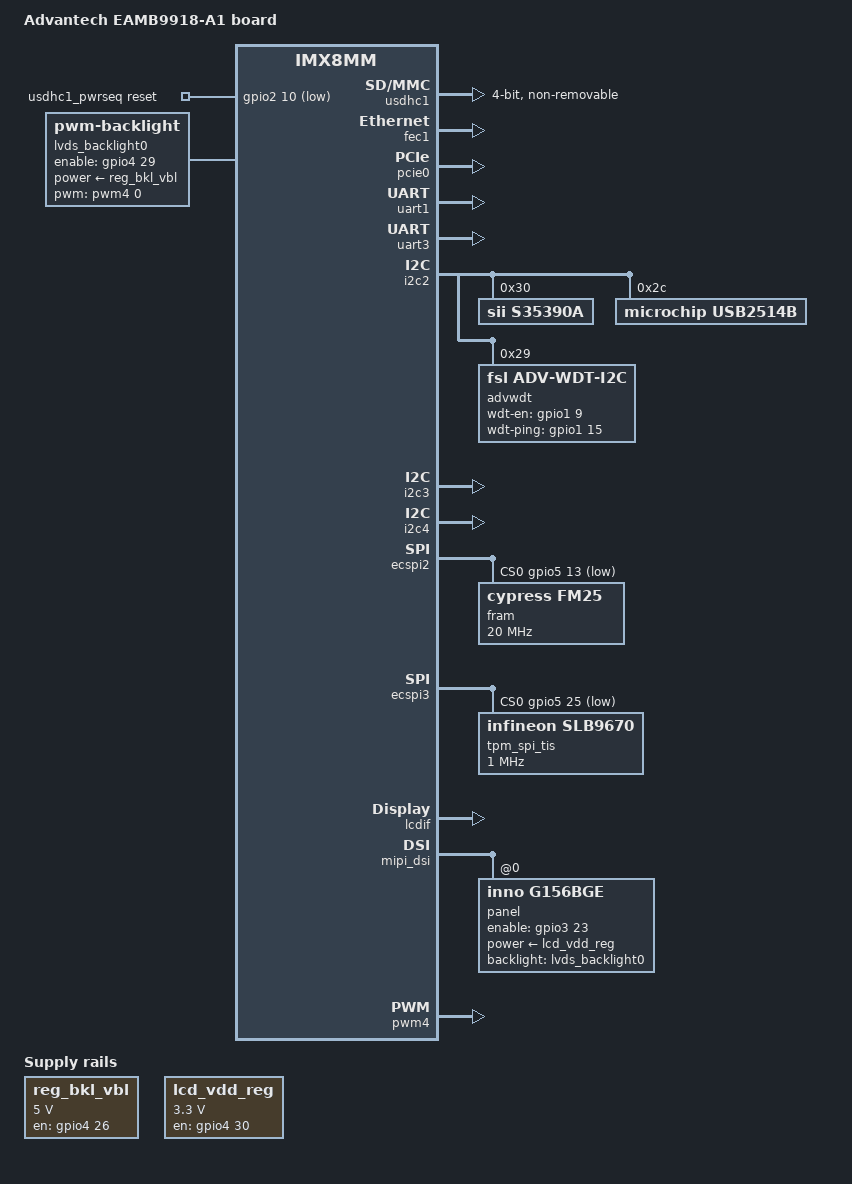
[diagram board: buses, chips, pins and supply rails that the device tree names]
// SPDX-License-Identifier: (GPL-2.0+ OR MIT)
/*
 * Copyright 2019 NXP
 */

/dts-v1/;

#include "imx8mm-advantech.dtsi"

/ {
	model = "Advantech EAMB9918-A1 board";
	compatible = "fsl,imx8mm-eamb9918", "fsl,imx8mm";

	usdhc1_pwrseq: usdhc1_pwrseq {
		compatible = "mmc-pwrseq-simple";
		pinctrl-names = "default";
		pinctrl-0 = <&pinctrl_usdhc1_gpio>;
		reset-gpios = <&gpio2 10 GPIO_ACTIVE_LOW>;
	};

	/************************
	* LVDS backlight power.
	************************/
	reg_bkl_vbl: regulator-bkl {
		compatible = "regulator-fixed";
		pinctrl-names = "default";
		pinctrl-0 = <&pinctrl_reg_bkl_vbl>;
		regulator-name = "VDD_BKL";
		regulator-min-microvolt = <5000000>;
		regulator-max-microvolt = <5000000>;
		gpio = <&gpio4 26 GPIO_ACTIVE_HIGH>;
		startup-delay-us = <300000>;
		enable-active-high;
	};

	/************************
	* LVDS VDD power.
	************************/
	lcd_vdd_reg: regulator_lcd_vdd {
		compatible = "regulator-fixed";
		pinctrl-names = "default";
		pinctrl-0 = <&pinctrl_lcd0>;
		regulator-name = "LCD_VDD";
		regulator-min-microvolt = <3300000>;
		regulator-max-microvolt = <3300000>;
		gpio = <&gpio4 30 GPIO_ACTIVE_HIGH>;
		enable-active-high;
	};

	/*****************
	* LVDS backlight.
	*****************/
	lvds_backlight0: lvds_backlight@0 {
		compatible = "pwm-backlight";
		pinctrl-names = "default";
		pinctrl-0 = <&pinctrl_bkl0>;
		power-supply = <&reg_bkl_vbl>;
		enable-gpios = <&gpio4 29 GPIO_ACTIVE_HIGH>;  /* BKL_EN */
		post-pwm-on-delay-ms = <10>;
		pwm-off-delay-ms = <10>;
		status = "okay";

		pwms = <&pwm4 0 1000000 0>;
		brightness-levels = < 0  1  2  3  4  5  6  7  8  9
			10 11 12 13 14 15 16 17 18 19
			20 21 22 23 24 25 26 27 28 29
			30 31 32 33 34 35 36 37 38 39
			40 41 42 43 44 45 46 47 48 49
			50 51 52 53 54 55 56 57 58 59
			60 61 62 63 64 65 66 67 68 69
			70 71 72 73 74 75 76 77 78 79
			80 81 82 83 84 85 86 87 88 89
			90 91 92 93 94 95 96 97 98 99
			100>;
		default-brightness-level = <80>;
	};

	/***************************
	* gpio export to sysfs.
	***************************/
	gpio_export {
		compatible = "adv,gpio_export";
		pinctrl-names = "default";
		pinctrl-0 = <&pinctrl_gpioexport_0>;
		#address-cells = <1>; 
		#size-cells = <1>;
		adv,export-gpio-use-number;
		gpio_counts = <4>;	//gpio counts
		status = "okay";

		gpio-0 = <84 1>;
		gpio-1 = <85 1>;
		gpio-2 = <86 1>;
		gpio-3 = <0 1>;
	};

	/***************************
	* use s35390a as rtc0. s35390a has battery, so it can keep time after power off
	***************************/
	aliases {
		rtc0 = &s35390a;
		rtc2 = &snvs_rtc;

		watchdog0 = &advwdt;
		watchdog1 = &wdog1;

		/* we need delete property "ethernet0" which already defined in imx8mm.dtsi and set ethernet1 for fec */
		/delete-property/ ethernet0;
		ethernet1 = &fec1;
	};
};

/***********************************************************
* uSDHC:
* usdhc1 as sdio to connect Wifi/Bt.
* usdhc2 connect to sdcard.
* usdhc3 connect to emmc flash.
* usdhc2 & usdhc3 has enabled in imx8mm-advantech.dtsi
***********************************************************/
&usdhc1 {
	pinctrl-names = "default", "state_100mhz", "state_200mhz";
	pinctrl-0 = <&pinctrl_usdhc1>, <&pinctrl_wlan>;
	pinctrl-1 = <&pinctrl_usdhc1_100mhz>, <&pinctrl_wlan>;
	pinctrl-2 = <&pinctrl_usdhc1_200mhz>, <&pinctrl_wlan>;
	bus-width = <4>;
	cap-power-off-card;
	pm-ignore-notify;
	keep-power-in-suspend;
	non-removable;
	mmc-pwrseq = <&usdhc1_pwrseq>;
	status = "okay";
};

/***************************************
* FEC:
* has enabled in imx8mm-advantech.dtsi.
***************************************/
&fec1 {
	status = "okay";
};

/**************************************
* PCIe:
**************************************/
&pcie0{
	status = "okay";
};

/*******************************************
* USB:
* usbotg1 as otg device.
* usbotg2 as host.
* this is enabled in imx8mm-advantech.dtsi
******************************************/


/**************************************
* UART:
* uart1& uart3 as rs485.
* uart2 as console, and has enabled.
* uart4 as rs232
**************************************/
&uart1 {
	pinctrl-names = "default";
	pinctrl-0 = <&pinctrl_uart1>;

	fsl,uart-has-rtscts;
	rs485-rts-delay = <0 200>;
	status = "okay";
};

&uart3 {
	pinctrl-names = "default";
	pinctrl-0 = <&pinctrl_uart3>;

	fsl,uart-has-rtscts;
	linux,rs485-enabled-at-boot-time;		/* cts as de pin */
	rs485-rts-delay = <0 200>;              // in milliseconds
	status = "okay";
};

&uart4 { /* M4 debug */
	pinctrl-names = "default";
	pinctrl-0 = <&pinctrl_uart4>;
	status = "disabled";
};

/*******************************
* I2C Bus
* i2c1 as pmic iic has enabled.
*******************************/
&i2c2 {
	status = "okay";

	/* system RTC. */
	s35390a: s35390a@30 {
		compatible = "sii,s35390a";
		reg = <0x30>;
		status = "okay";
	};

	/*usb hub.*/
	usb2514b@2c {
		compatible = "microchip,usb2514b";
		reg = <0x2c>;
    };

	advwdt: wdt@29 {
		compatible = "fsl,adv-wdt-i2c";
		pinctrl-names = "default";
		pinctrl-0 = <&pinctrl_wdt_en_1 &pinctrl_wdt_ping_1>;
		status = "okay";
		wdt-en = <&gpio1 9 0>;
		wdt-ping = <&gpio1 15 0>;
		reg = <0x29>;
	};


};

&i2c3 {
	status = "okay";

	/* gpio controller without intterupt. */
	ext_gpio: tca9538@73 {
		compatible = "ti,tca6408";
		reg = <0x73>;
		gpio-controller;
		#gpio-cells = <2>;
		status = "disabled";
	};
};

&i2c4 {
	status = "okay";
};

/***********************
* ecspi2
* with one spi fram.
***********************/
&ecspi2 {
	pinctrl-names = "default";
	pinctrl-0 = <&pinctrl_ecspi2>;
	#address-cells = <1>;
	#size-cells = <0>;
	fsl,spi-num-chipselects = <1>;
	cs-gpios = <&gpio5 13 GPIO_ACTIVE_LOW>;
	status = "okay";

	fram: fm25v10@0 {
		compatible = "cypress,fm25";
		reg = <0>;
		spi-max-frequency = <20000000>;
		status = "okay";
	};
};

&ecspi3 {
	pinctrl-names = "default";
	pinctrl-0 = <&pinctrl_ecspi3>;
	/delete-property/ dmas;
	/delete-property/ dma-names;
	#address-cells = <1>;
	#size-cells = <0>;
	fsl,spi-num-chipselects = <1>;
	cs-gpios = <&gpio5 25 GPIO_ACTIVE_LOW>;
	status = "okay";

	tpm_spi_tis@0 {
		compatible = "infineon,slb9670";
		reg = <0>;
		spi-max-frequency = <1000000>;
		status = "okay";
	};
};

/***************
* SAI3 
***************/
&sai3 {
	assigned-clocks = <&clk IMX8MM_CLK_SAI3>;
	assigned-clock-parents = <&clk IMX8MM_AUDIO_PLL1_OUT>;
	assigned-clock-rates = <24576000>;
	status = "disable";
};

/***************************
*
* Display system:
*
***************************/
/* the real display controler.*/
&lcdif {
	status = "okay";
};

/* display data from lcdif.*/
&mipi_dsi {
	status = "okay";

	/*
	* sec-dsi driver support the panel
	* node in the mipi_dis bridge node.
	*/
	panel@0 {
		compatible = "inno,g156bge";
		pinctrl-names = "default";
		pinctrl-0 = <&pinctrl_lvds>;

		reg = <0>;
		power-supply = <&lcd_vdd_reg>;
		enable-gpios = <&gpio3 23 GPIO_ACTIVE_HIGH>;  /* We use STBY as enable TC358775XBG */
		power-on-delay = <10>;
		bkl-prepare-on-delay = <200>;
		backlight=<&lvds_backlight0>;
		panel-init-sequence = [
			29 00 06 3C 01 06 00 05 00
			29 00 06 14 01 04 00 00 00
			29 00 06 64 01 04 00 00 00
			29 00 06 68 01 04 00 00 00
			29 00 06 6C 01 04 00 00 00
			29 00 06 70 01 04 00 00 00
			29 00 06 34 01 1F 00 00 00
			29 00 06 10 02 1F 00 00 00
			29 00 06 04 01 01 00 00 00
			29 00 06 04 02 01 00 00 00
			29 00 06 50 04 20 01 40 01
			29 00 06 54 04 18 00 50 00
			29 00 06 58 04 56 05 5A 00
			29 00 06 5C 04 08 00 0A 00
			29 00 06 60 04 00 03 14 00
			29 00 06 64 04 01 00 00 00
			29 01 06 A0 04 06 80 44 00
			29 00 06 A0 04 06 80 04 00
			29 00 06 04 05 04 00 00 00
			29 00 06 80 04 00 01 02 03
			29 00 06 84 04 04 07 05 08
			29 00 06 88 04 09 0A 0E 0F
			29 00 06 8C 04 0B 0C 0D 10
			29 00 06 90 04 16 17 11 12
			29 00 06 94 04 13 14 15 1B
			29 14 06 98 04 18 19 1A 06
			29 78 06 9C 04 31 00 00 00
		];
	};
};

/* LVDS Backlight pwm. */
&pwm4 {
	status = "okay";
};

/****************
*
* IOMUX.
*
****************/
&iomuxc {
	pinctrl-names = "default";

	pinctrl_hog: hoggrp {
		fsl,pins = <
			MX8MM_IOMUXC_SPDIF_TX_GPIO5_IO3			0x19	/* GPIO11 */
			MX8MM_IOMUXC_SPDIF_EXT_CLK_GPIO5_IO5		0x19	/* GPIO5 */
			MX8MM_IOMUXC_SAI3_RXFS_GPIO4_IO28		0x19	/* RESET_OUT */
		>;
	};

	pinctrl_tpm: tpm_grp {
		fsl,pins = <
			MX8MM_IOMUXC_ECSPI1_MOSI_GPIO5_IO7		0x159	/* TPM_IRQ */
		>;
	};

	pinctrl_mipi_dsi_en: mipi_dsi_en {
		fsl,pins = <
			MX8MM_IOMUXC_GPIO1_IO08_GPIO1_IO8		0x16
		>;
	};

	pinctrl_uart1: uart1grp {
		fsl,pins = <
			MX8MM_IOMUXC_SAI2_RXC_UART1_DCE_RX		0x140
			MX8MM_IOMUXC_SAI2_RXFS_UART1_DCE_TX		0x140
			MX8MM_IOMUXC_SAI2_TXFS_UART1_DCE_CTS_B	0x140
			MX8MM_IOMUXC_SAI2_RXD0_UART1_DCE_RTS_B	0x140
		>;
	};

	pinctrl_uart3: uart3grp {
		fsl,pins = <
			MX8MM_IOMUXC_UART3_RXD_UART3_DCE_RX		0x140
			MX8MM_IOMUXC_UART3_TXD_UART3_DCE_TX		0x140
			MX8MM_IOMUXC_ECSPI1_SS0_UART3_DCE_RTS_B		0x140
			MX8MM_IOMUXC_ECSPI1_MISO_UART3_DCE_CTS_B	0x140
		>;
	};

	pinctrl_uart4: uart4grp {
		fsl,pins = <
			MX8MM_IOMUXC_UART4_RXD_UART4_DCE_RX	0x140
			MX8MM_IOMUXC_UART4_TXD_UART4_DCE_TX	0x140
		>;
	};

	pinctrl_usdhc1_gpio: usdhc1grpgpio {
		fsl,pins = <
			MX8MM_IOMUXC_SD1_RESET_B_GPIO2_IO10	0x41
		>;
	};

	pinctrl_usdhc1: usdhc1grp {
		fsl,pins = <
			MX8MM_IOMUXC_SD1_CLK_USDHC1_CLK		0x190
			MX8MM_IOMUXC_SD1_CMD_USDHC1_CMD		0x1d0
			MX8MM_IOMUXC_SD1_DATA0_USDHC1_DATA0	0x1d0
			MX8MM_IOMUXC_SD1_DATA1_USDHC1_DATA1	0x1d0
			MX8MM_IOMUXC_SD1_DATA2_USDHC1_DATA2	0x1d0
			MX8MM_IOMUXC_SD1_DATA3_USDHC1_DATA3	0x1d0
		>;
	};

	pinctrl_usdhc1_100mhz: usdhc1grp100mhz {
		fsl,pins = <
			MX8MM_IOMUXC_SD1_CLK_USDHC1_CLK		0x194
			MX8MM_IOMUXC_SD1_CMD_USDHC1_CMD		0x1d4
			MX8MM_IOMUXC_SD1_DATA0_USDHC1_DATA0	0x1d4
			MX8MM_IOMUXC_SD1_DATA1_USDHC1_DATA1	0x1d4
			MX8MM_IOMUXC_SD1_DATA2_USDHC1_DATA2	0x1d4
			MX8MM_IOMUXC_SD1_DATA3_USDHC1_DATA3	0x1d4
		>;
	};

	pinctrl_usdhc1_200mhz: usdhc1grp200mhz {
		fsl,pins = <
			MX8MM_IOMUXC_SD1_CLK_USDHC1_CLK		0x196
			MX8MM_IOMUXC_SD1_CMD_USDHC1_CMD		0x1d6
			MX8MM_IOMUXC_SD1_DATA0_USDHC1_DATA0	0x1d6
			MX8MM_IOMUXC_SD1_DATA1_USDHC1_DATA1	0x1d6
			MX8MM_IOMUXC_SD1_DATA2_USDHC1_DATA2	0x1d6
			MX8MM_IOMUXC_SD1_DATA3_USDHC1_DATA3	0x1d6
		>;
	};

	pinctrl_wlan: wlangrp {
		fsl,pins = <
			MX8MM_IOMUXC_GPIO1_IO01_GPIO1_IO1		0x111
			MX8MM_IOMUXC_GPIO1_IO08_GPIO1_IO8		0x111
		>;
	};

	pinctrl_reg_bkl_vbl: reg_bkl_vbl {
		fsl,pins = <
			MX8MM_IOMUXC_SAI2_TXD0_GPIO4_IO26	0x19		/* BKLT_VDD_EN */
		>;
	};

	pinctrl_bkl0: bkl0_grp {
		fsl,pins = <
			MX8MM_IOMUXC_SAI3_RXC_GPIO4_IO29	0x19		/* LCD0_BKLT_EN */
			MX8MM_IOMUXC_SAI3_MCLK_PWM4_OUT     0x06		 /* LCD0_BKLT_PWM */
		>;
	};

	pinctrl_lcd0: lcd0_grp {
		fsl,pins = <
			MX8MM_IOMUXC_SAI3_RXD_GPIO4_IO30	0x10		/* LCD0_VDD_EN */
		>;
	};

	pinctrl_lvds: lvdsgrp {
		fsl,pins = <
			MX8MM_IOMUXC_SAI5_RXD2_GPIO3_IO23	0x19	/* LVDS_STBY */
			MX8MM_IOMUXC_SAI5_RXD3_GPIO3_IO24	0x19	/* LVDS_RESET */
		>;
	};

	pinctrl_gpioexport_0: gpioexport_bklgrp-0 {
		fsl,pins = <
			MX8MM_IOMUXC_SAI5_RXD0_GPIO3_IO21	0x140		/* COM_MODE_0 */
			MX8MM_IOMUXC_SAI5_RXD1_GPIO3_IO22	0x140		/* COM_MODE_1 */
			MX8MM_IOMUXC_SAI5_RXC_GPIO3_IO20	0x140		/* COM_TERM */
			MX8MM_IOMUXC_GPIO1_IO00_GPIO1_IO0	0x140		/* COM_SLEW */
		>;
	};

	pinctrl_ecspi2: ecspi2grp {
		fsl,pins = <
			MX8MM_IOMUXC_ECSPI2_SCLK_ECSPI2_SCLK           0x82
			MX8MM_IOMUXC_ECSPI2_MISO_ECSPI2_MISO           0x82
			MX8MM_IOMUXC_ECSPI2_MOSI_ECSPI2_MOSI           0x82
			MX8MM_IOMUXC_ECSPI2_SS0_GPIO5_IO13			   0x19
		>;
	};

	pinctrl_ecspi3: ecspi3grp {
		fsl,pins = <
			MX8MM_IOMUXC_UART1_RXD_ECSPI3_SCLK		0x82	/* ECSPI3_SCLK */
			MX8MM_IOMUXC_UART1_TXD_ECSPI3_MOSI		0x82	/* ECSPI3_MOSI */
			MX8MM_IOMUXC_UART2_RXD_ECSPI3_MISO		0x82	/* ECSPI3_MISO */
			MX8MM_IOMUXC_UART2_TXD_GPIO5_IO25		0x19	/* ECSPI3_SS0 */
		>;
	};

	pinctrl_wdt_en_1: wdt_engrp-1 {
		fsl,pins = <
			MX8MM_IOMUXC_GPIO1_IO09_GPIO1_IO9		0x19    /* WDT_EN */
		>;
	};

	pinctrl_wdt_ping_1: wdt_pinggrp-1 {
		fsl,pins = <
			MX8MM_IOMUXC_GPIO1_IO15_GPIO1_IO15		0x19    /* WDOG_TRIG */
		>;
	};
};
